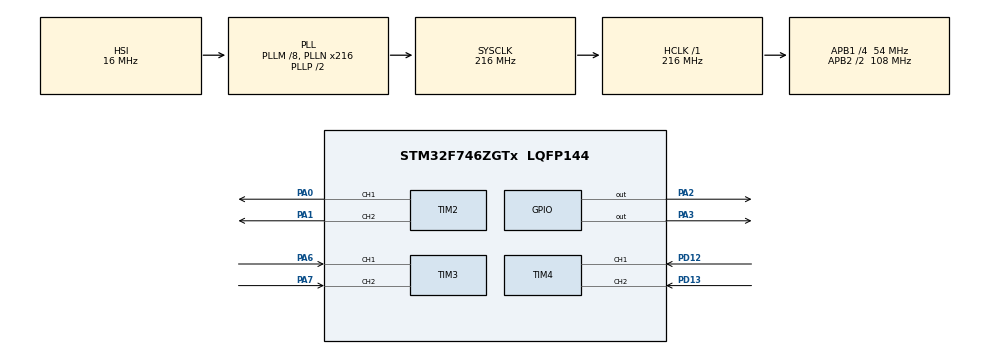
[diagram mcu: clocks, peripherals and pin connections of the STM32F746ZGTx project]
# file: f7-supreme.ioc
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Mcu.Family=STM32F7
Mcu.Name=STM32F746ZGTx
Mcu.Package=LQFP144
NVIC.PriorityGroup=NVIC_PRIORITYGROUP_4
NVIC.TIM3_IRQn=true\:0\:0\:false\:false\:true\:true\:true\:true
NVIC.TIM4_IRQn=true\:0\:0\:false\:false\:true\:true\:true\:true
PA0/WKUP.Signal=S_TIM2_CH1_ETR
PA1.Signal=S_TIM2_CH2
PA13.Mode=Trace_Asynchronous_SW
PA13.Signal=SYS_JTMS-SWDIO
PA14.Mode=Trace_Asynchronous_SW
PA14.Signal=SYS_JTCK-SWCLK
PA2.Signal=GPIO_Output
PA3.Signal=GPIO_Output
PA6.Signal=S_TIM3_CH1
PA7.Signal=S_TIM3_CH2
PB3.Mode=Trace_Asynchronous_SW
PB3.Signal=SYS_JTDO-SWO
PD12.Signal=S_TIM4_CH1
PD13.Signal=S_TIM4_CH2
PH0/OSC_IN.Mode=HSE-External-Oscillator
PH0/OSC_IN.Signal=RCC_OSC_IN
PH1/OSC_OUT.Mode=HSE-External-Oscillator
PH1/OSC_OUT.Signal=RCC_OSC_OUT
ProjectManager.HeapSize=0x200
ProjectManager.StackSize=0x400
ProjectManager.TargetToolchain=STM32CubeIDE
RCC.AHBFreq_Value=216000000
RCC.APB1CLKDivider=RCC_HCLK_DIV4
RCC.APB1Freq_Value=54000000
RCC.APB1TimFreq_Value=108000000
RCC.APB2CLKDivider=RCC_HCLK_DIV2
RCC.APB2Freq_Value=108000000
RCC.APB2TimFreq_Value=216000000
RCC.CortexFreq_Value=216000000
RCC.HCLKFreq_Value=216000000
RCC.HSE_VALUE=25000000
RCC.HSI_VALUE=16000000
RCC.LSE_VALUE=32768
RCC.PLLM=8
RCC.PLLN=216
RCC.SYSCLKFreq_VALUE=216000000
RCC.SYSCLKSource=RCC_SYSCLKSOURCE_PLLCLK
RCC.USBFreq_Value=216000000
RCC.VCOOutputFreq_Value=432000000
SH.S_TIM2_CH1_ETR.0=TIM2_CH1,PWM Generation1 CH1
SH.S_TIM2_CH2.0=TIM2_CH2,PWM Generation2 CH2
SH.S_TIM3_CH1.0=TIM3_CH1,Encoder_Interface
SH.S_TIM3_CH2.0=TIM3_CH2,Encoder_Interface
SH.S_TIM4_CH1.0=TIM4_CH1,Encoder_Interface
SH.S_TIM4_CH2.0=TIM4_CH2,Encoder_Interface
TIM2.Channel-PWM\ Generation1\ CH1=TIM_CHANNEL_1
TIM2.Channel-PWM\ Generation2\ CH2=TIM_CHANNEL_2
board=custom

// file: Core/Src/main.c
/* USER CODE BEGIN Header */
/**
  ******************************************************************************
  * @file           : main.c
  * @brief          : Main program body
  ******************************************************************************
  * @attention
  *
  * Copyright (c) 2023 STMicroelectronics.
  * All rights reserved.
  *
  * This software is licensed under terms that can be found in the LICENSE file
  * in the root directory of this software component.
  * If no LICENSE file comes with this software, it is provided AS-IS.
  *
  ******************************************************************************
  */
/* USER CODE END Header */
#include "main.h"

/* USER CODE BEGIN Includes */
#include "pid.h"
#include "mdds30.h"
#include "DC_MOTOR_cfg.h"

/* USER CODE END Includes */

TIM_HandleTypeDef htim2;
TIM_HandleTypeDef htim3;
TIM_HandleTypeDef htim4;

void SystemClock_Config(void);
static void MPU_Config(void);
static void MX_GPIO_Init(void);
static void MX_TIM3_Init(void);
static void MX_TIM4_Init(void);
static void MX_TIM2_Init(void);

/* USER CODE BEGIN 0 */

float LPF_beta = 0.025;
int sample_time = 20;

// -- ignore on release
float linear_x = 0;
float angular_z = 0;

float linear_x_now = 0;
float angular_z_now = 0;

// Left Motor

PID_TypeDef left_SPID;
int left_Kp = 0;
int left_Ki = 0;
int left_Kd = 0;

double left_SpeedCurrent, left_PIDOut, left_SpeedSetpoint;

int16_t left_pulses = 0;
int left_ppms = 0;

float left_sppms = 0;

int GetSpeedLeft(){ return left_sppms; }

// Right Motor

PID_TypeDef right_SPID;
int right_Kp = 0;
int right_Ki = 0;
int right_Kd = 0;

double right_SpeedCurrent, right_PIDOut, right_SpeedSetpoint;

int16_t right_pulses = 0;
int right_ppms = 0;

float right_sppms = 0;

int GetSpeedRight(){ return right_sppms; }

// Encoder Callback

void HAL_TIM_IC_CaptureCallback(TIM_HandleTypeDef *htim)
{
	left_pulses = -(int16_t)__HAL_TIM_GET_COUNTER(&htim3)/4;
	right_pulses = -(int16_t)__HAL_TIM_GET_COUNTER(&htim4)/4;

}

// Wheel Velocity
void setWheelVelocity(float lnr_x, float ang_z, float r, double *left_vel, double *right_vel){

	// r is in m

	*left_vel = (lnr_x - (r*ang_z))*1.1542*sample_time/100;
	*right_vel = (lnr_x + (r*ang_z))*1.1542*sample_time/100;

}

/* USER CODE END 0 */

int main(void)
{

  /* MPU Configuration--------------------------------------------------------*/
  MPU_Config();

  /* MCU Configuration--------------------------------------------------------*/

  /* Reset of all peripherals, Initializes the Flash interface and the Systick. */
  HAL_Init();

  /* Configure the system clock */
  SystemClock_Config();

  /* Initialize all configured peripherals */
  MX_GPIO_Init();
  MX_TIM3_Init();
  MX_TIM4_Init();
  MX_TIM2_Init();
  /* USER CODE BEGIN 2 */

  // Left Motor

    DC_MOTOR_Init(DC_MOTOR_CfgParam[0]);

    HAL_TIM_Encoder_Start_IT(&htim3, TIM_CHANNEL_ALL);

    PID(&left_SPID, &left_SpeedCurrent, &left_PIDOut, &left_SpeedSetpoint, left_Kp, left_Ki, left_Kd, _PID_P_ON_E, _PID_CD_DIRECT);
    PID_SetMode(&left_SPID, _PID_MODE_AUTOMATIC);
    PID_SetSampleTime(&left_SPID, 500);
    PID_SetOutputLimits(&left_SPID, -65534, 65534);

    // Right Motor

    DC_MOTOR_Init(DC_MOTOR_CfgParam[1]);

    HAL_TIM_Encoder_Start_IT(&htim4, TIM_CHANNEL_ALL);

    PID(&right_SPID, &right_SpeedCurrent, &right_PIDOut, &right_SpeedSetpoint, right_Kp, right_Ki, right_Kd, _PID_P_ON_E, _PID_CD_DIRECT);
    PID_SetMode(&right_SPID, _PID_MODE_AUTOMATIC);
    PID_SetSampleTime(&right_SPID, 500);
    PID_SetOutputLimits(&right_SPID, -65534, 65534);

  /* USER CODE END 2 */

  /* Infinite loop */
  while (1)
  {

    /* USER CODE BEGIN 3 */

	  // --ignore in final

	  	  if ( (left_Kp != PID_GetKp(&left_SPID)) | (left_Ki != PID_GetKi(&left_SPID)) | (left_Kd != PID_GetKd(&left_SPID))){
	  	  	 	PID_SetTunings(&left_SPID, left_Kp, left_Ki, left_Kd);
	  	  	 }
	  	  if ( (right_Kp != PID_GetKp(&right_SPID)) | (right_Ki != PID_GetKi(&right_SPID)) | (right_Kd != PID_GetKd(&right_SPID))){
	  	  	 	PID_SetTunings(&right_SPID, right_Kp, right_Ki, right_Kd);
	  	  	 }

	  	  // Low Pass Filter

	  	  left_sppms = left_sppms - (LPF_beta *(left_sppms-left_ppms));
	  	  right_sppms = right_sppms - (LPF_beta *(right_sppms-right_ppms));

	  	  // Get Wheel Velocities

	  	  setWheelVelocity(linear_x, angular_z, 0.355, &left_SpeedSetpoint, &right_SpeedSetpoint);

	  	  // PID

	  	  left_SpeedCurrent = GetSpeedLeft();
	  	  right_SpeedCurrent = GetSpeedRight();

	  	  PID_Compute(&left_SPID);
	  	  PID_Compute(&right_SPID);

	  	  // Current speed

	  	  linear_x_now = (right_sppms + left_sppms)*(0.1651/2)*(2*3.14/1196);
	  	  angular_z_now = (right_sppms - left_sppms)*(0.1651/0.355)*(2*3.14/1196);

	  	  // Motors

	  	  DC_MOTOR_Start( DC_MOTOR_CfgParam[0],
	  			  	  	  left_PIDOut < 0 ? DIR_ACW : DIR_CW,
	  					  left_PIDOut < 0 ? -left_PIDOut : left_PIDOut);

	  	  DC_MOTOR_Start( DC_MOTOR_CfgParam[1],
	  			  	  	  right_PIDOut < 0 ? DIR_ACW : DIR_CW,
	  			  	  	  right_PIDOut < 0 ? -right_PIDOut : right_PIDOut);

  }
  /* USER CODE END 3 */
}

void SystemClock_Config(void)
{
  RCC_OscInitTypeDef RCC_OscInitStruct = {0};
  RCC_ClkInitTypeDef RCC_ClkInitStruct = {0};

  /** Configure the main internal regulator output voltage
  */
  __HAL_RCC_PWR_CLK_ENABLE();
  __HAL_PWR_VOLTAGESCALING_CONFIG(PWR_REGULATOR_VOLTAGE_SCALE1);

  /** Initializes the RCC Oscillators according to the specified parameters
  * in the RCC_OscInitTypeDef structure.
  */
  RCC_OscInitStruct.OscillatorType = RCC_OSCILLATORTYPE_HSI;
  RCC_OscInitStruct.HSIState = RCC_HSI_ON;
  RCC_OscInitStruct.HSICalibrationValue = RCC_HSICALIBRATION_DEFAULT;
  RCC_OscInitStruct.PLL.PLLState = RCC_PLL_ON;
  RCC_OscInitStruct.PLL.PLLSource = RCC_PLLSOURCE_HSI;
  RCC_OscInitStruct.PLL.PLLM = 8;
  RCC_OscInitStruct.PLL.PLLN = 216;
  RCC_OscInitStruct.PLL.PLLP = RCC_PLLP_DIV2;
  RCC_OscInitStruct.PLL.PLLQ = 2;
  if (HAL_RCC_OscConfig(&RCC_OscInitStruct) != HAL_OK)
  {
    Error_Handler();
  }

  /** Activate the Over-Drive mode
  */
  if (HAL_PWREx_EnableOverDrive() != HAL_OK)
  {
    Error_Handler();
  }

  /** Initializes the CPU, AHB and APB buses clocks
  */
  RCC_ClkInitStruct.ClockType = RCC_CLOCKTYPE_HCLK|RCC_CLOCKTYPE_SYSCLK
                              |RCC_CLOCKTYPE_PCLK1|RCC_CLOCKTYPE_PCLK2;
  RCC_ClkInitStruct.SYSCLKSource = RCC_SYSCLKSOURCE_PLLCLK;
  RCC_ClkInitStruct.AHBCLKDivider = RCC_SYSCLK_DIV1;
  RCC_ClkInitStruct.APB1CLKDivider = RCC_HCLK_DIV4;
  RCC_ClkInitStruct.APB2CLKDivider = RCC_HCLK_DIV2;

  if (HAL_RCC_ClockConfig(&RCC_ClkInitStruct, FLASH_LATENCY_7) != HAL_OK)
  {
    Error_Handler();
  }
}

static void MX_TIM2_Init(void)
{

  TIM_MasterConfigTypeDef sMasterConfig = {0};
  TIM_OC_InitTypeDef sConfigOC = {0};

  htim2.Instance = TIM2;
  htim2.Init.Prescaler = 0;
  htim2.Init.CounterMode = TIM_COUNTERMODE_UP;
  htim2.Init.Period = 4294967295;
  htim2.Init.ClockDivision = TIM_CLOCKDIVISION_DIV1;
  htim2.Init.AutoReloadPreload = TIM_AUTORELOAD_PRELOAD_DISABLE;
  if (HAL_TIM_PWM_Init(&htim2) != HAL_OK)
  {
    Error_Handler();
  }
  sMasterConfig.MasterOutputTrigger = TIM_TRGO_RESET;
  sMasterConfig.MasterSlaveMode = TIM_MASTERSLAVEMODE_DISABLE;
  if (HAL_TIMEx_MasterConfigSynchronization(&htim2, &sMasterConfig) != HAL_OK)
  {
    Error_Handler();
  }
  sConfigOC.OCMode = TIM_OCMODE_PWM1;
  sConfigOC.Pulse = 0;
  sConfigOC.OCPolarity = TIM_OCPOLARITY_HIGH;
  sConfigOC.OCFastMode = TIM_OCFAST_DISABLE;
  if (HAL_TIM_PWM_ConfigChannel(&htim2, &sConfigOC, TIM_CHANNEL_1) != HAL_OK)
  {
    Error_Handler();
  }
  if (HAL_TIM_PWM_ConfigChannel(&htim2, &sConfigOC, TIM_CHANNEL_2) != HAL_OK)
  {
    Error_Handler();
  }
  HAL_TIM_MspPostInit(&htim2);

}

static void MX_TIM3_Init(void)
{

  TIM_Encoder_InitTypeDef sConfig = {0};
  TIM_MasterConfigTypeDef sMasterConfig = {0};

  htim3.Instance = TIM3;
  htim3.Init.Prescaler = 0;
  htim3.Init.CounterMode = TIM_COUNTERMODE_UP;
  htim3.Init.Period = 65535;
  htim3.Init.ClockDivision = TIM_CLOCKDIVISION_DIV1;
  htim3.Init.AutoReloadPreload = TIM_AUTORELOAD_PRELOAD_DISABLE;
  sConfig.EncoderMode = TIM_ENCODERMODE_TI1;
  sConfig.IC1Polarity = TIM_ICPOLARITY_RISING;
  sConfig.IC1Selection = TIM_ICSELECTION_DIRECTTI;
  sConfig.IC1Prescaler = TIM_ICPSC_DIV1;
  sConfig.IC1Filter = 0;
  sConfig.IC2Polarity = TIM_ICPOLARITY_RISING;
  sConfig.IC2Selection = TIM_ICSELECTION_DIRECTTI;
  sConfig.IC2Prescaler = TIM_ICPSC_DIV1;
  sConfig.IC2Filter = 0;
  if (HAL_TIM_Encoder_Init(&htim3, &sConfig) != HAL_OK)
  {
    Error_Handler();
  }
  sMasterConfig.MasterOutputTrigger = TIM_TRGO_RESET;
  sMasterConfig.MasterSlaveMode = TIM_MASTERSLAVEMODE_DISABLE;
  if (HAL_TIMEx_MasterConfigSynchronization(&htim3, &sMasterConfig) != HAL_OK)
  {
    Error_Handler();
  }

}

static void MX_TIM4_Init(void)
{

  TIM_Encoder_InitTypeDef sConfig = {0};
  TIM_MasterConfigTypeDef sMasterConfig = {0};

  htim4.Instance = TIM4;
  htim4.Init.Prescaler = 0;
  htim4.Init.CounterMode = TIM_COUNTERMODE_UP;
  htim4.Init.Period = 65535;
  htim4.Init.ClockDivision = TIM_CLOCKDIVISION_DIV1;
  htim4.Init.AutoReloadPreload = TIM_AUTORELOAD_PRELOAD_DISABLE;
  sConfig.EncoderMode = TIM_ENCODERMODE_TI1;
  sConfig.IC1Polarity = TIM_ICPOLARITY_RISING;
  sConfig.IC1Selection = TIM_ICSELECTION_DIRECTTI;
  sConfig.IC1Prescaler = TIM_ICPSC_DIV1;
  sConfig.IC1Filter = 0;
  sConfig.IC2Polarity = TIM_ICPOLARITY_RISING;
  sConfig.IC2Selection = TIM_ICSELECTION_DIRECTTI;
  sConfig.IC2Prescaler = TIM_ICPSC_DIV1;
  sConfig.IC2Filter = 0;
  if (HAL_TIM_Encoder_Init(&htim4, &sConfig) != HAL_OK)
  {
    Error_Handler();
  }
  sMasterConfig.MasterOutputTrigger = TIM_TRGO_RESET;
  sMasterConfig.MasterSlaveMode = TIM_MASTERSLAVEMODE_DISABLE;
  if (HAL_TIMEx_MasterConfigSynchronization(&htim4, &sMasterConfig) != HAL_OK)
  {
    Error_Handler();
  }

}

static void MX_GPIO_Init(void)
{
  GPIO_InitTypeDef GPIO_InitStruct = {0};

  /* GPIO Ports Clock Enable */
  __HAL_RCC_GPIOH_CLK_ENABLE();
  __HAL_RCC_GPIOA_CLK_ENABLE();
  __HAL_RCC_GPIOD_CLK_ENABLE();
  __HAL_RCC_GPIOB_CLK_ENABLE();

  /*Configure GPIO pin Output Level */
  HAL_GPIO_WritePin(GPIOA, GPIO_PIN_2|GPIO_PIN_3, GPIO_PIN_RESET);

  /*Configure GPIO pins : PA2 PA3 */
  GPIO_InitStruct.Pin = GPIO_PIN_2|GPIO_PIN_3;
  GPIO_InitStruct.Mode = GPIO_MODE_OUTPUT_PP;
  GPIO_InitStruct.Pull = GPIO_NOPULL;
  GPIO_InitStruct.Speed = GPIO_SPEED_FREQ_LOW;
  HAL_GPIO_Init(GPIOA, &GPIO_InitStruct);

}

/* MPU Configuration */

void MPU_Config(void)
{
  MPU_Region_InitTypeDef MPU_InitStruct = {0};

  /* Disables the MPU */
  HAL_MPU_Disable();

  /** Initializes and configures the Region and the memory to be protected
  */
  MPU_InitStruct.Enable = MPU_REGION_ENABLE;
  MPU_InitStruct.Number = MPU_REGION_NUMBER0;
  MPU_InitStruct.BaseAddress = 0x0;
  MPU_InitStruct.Size = MPU_REGION_SIZE_4GB;
  MPU_InitStruct.SubRegionDisable = 0x87;
  MPU_InitStruct.TypeExtField = MPU_TEX_LEVEL0;
  MPU_InitStruct.AccessPermission = MPU_REGION_NO_ACCESS;
  MPU_InitStruct.DisableExec = MPU_INSTRUCTION_ACCESS_DISABLE;
  MPU_InitStruct.IsShareable = MPU_ACCESS_SHAREABLE;
  MPU_InitStruct.IsCacheable = MPU_ACCESS_NOT_CACHEABLE;
  MPU_InitStruct.IsBufferable = MPU_ACCESS_NOT_BUFFERABLE;

  HAL_MPU_ConfigRegion(&MPU_InitStruct);
  /* Enables the MPU */
  HAL_MPU_Enable(MPU_PRIVILEGED_DEFAULT);

}

void Error_Handler(void)
{
  __disable_irq();
  while (1)
  {
  }
}
